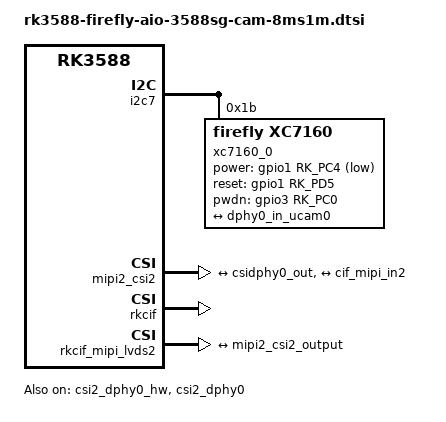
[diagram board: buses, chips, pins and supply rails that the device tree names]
// SPDX-License-Identifier: (GPL-2.0+ OR MIT)
/*
 * Copyright (c) 2021 Rockchip Electronics Co., Ltd.
 *
 */

&i2c7 {
	status = "okay";
	pinctrl-names = "default";
	pinctrl-0 = <&i2c7m0_xfer>;

	xc7160_0: xc7160-0@1b{
		compatible = "firefly,xc7160";
		reg = <0x1b>;
		clocks = <&cru CLK_MIPI_CAMARAOUT_M1>;
		clock-names = "xvclk";
		pinctrl-names = "default";
		pinctrl-0 = <&mipim1_camera1_clk>;
		power-domains = <&power RK3588_PD_VI>;

		power-gpios = <&gpio1 RK_PC4 GPIO_ACTIVE_LOW>;
		reset-gpios = <&gpio1 RK_PD5 GPIO_ACTIVE_HIGH>;
		pwdn-gpios = <&gpio3 RK_PC0 GPIO_ACTIVE_HIGH>;

		rockchip,camera-module-index = <0>;
		rockchip,camera-module-facing = "back";
		rockchip,camera-module-name = "NC";
		rockchip,camera-module-lens-name = "NC";
		port {
			xc7160_out0: endpoint {
				remote-endpoint = <&dphy0_in_ucam0>;
				data-lanes = <1 2 3 4>;
			};
		};
	};

};

&csi2_dphy0_hw {
	status = "okay";
};

&csi2_dphy0 {
	status = "okay";

	ports {
		#address-cells = <1>;
		#size-cells = <0>;
		port@0 {
			reg = <0>;
			#address-cells = <1>;
			#size-cells = <0>;

			dphy0_in_ucam0: endpoint@1 {
				reg = <1>;
				remote-endpoint = <&xc7160_out0>;
				data-lanes = <1 2 3 4>;
			};
		};
		port@1 {
			reg = <1>;
			#address-cells = <1>;
			#size-cells = <0>;

			csidphy0_out: endpoint@0 {
				reg = <0>;
				remote-endpoint = <&mipi2_csi2_input>;
			};
		};
	};
};

&mipi2_csi2 {
	status = "okay";

	ports {
		#address-cells = <1>;
		#size-cells = <0>;

		port@0 {
			reg = <0>;
			#address-cells = <1>;
			#size-cells = <0>;

			mipi2_csi2_input: endpoint@1 {
				reg = <1>;
				remote-endpoint = <&csidphy0_out>;
			};
		};

		port@1 {
			reg = <1>;
			#address-cells = <1>;
			#size-cells = <0>;

			mipi2_csi2_output: endpoint@0 {
				reg = <0>;
				remote-endpoint = <&cif_mipi_in2>;
			};
		};
	};
};

&rkcif {
	status = "okay";
};

&rkcif_mmu {
	status = "okay";
};

&rkcif_mipi_lvds2 {
	status = "okay";

	port {
		cif_mipi_in2: endpoint {
			remote-endpoint = <&mipi2_csi2_output>;
		};
	};
};
